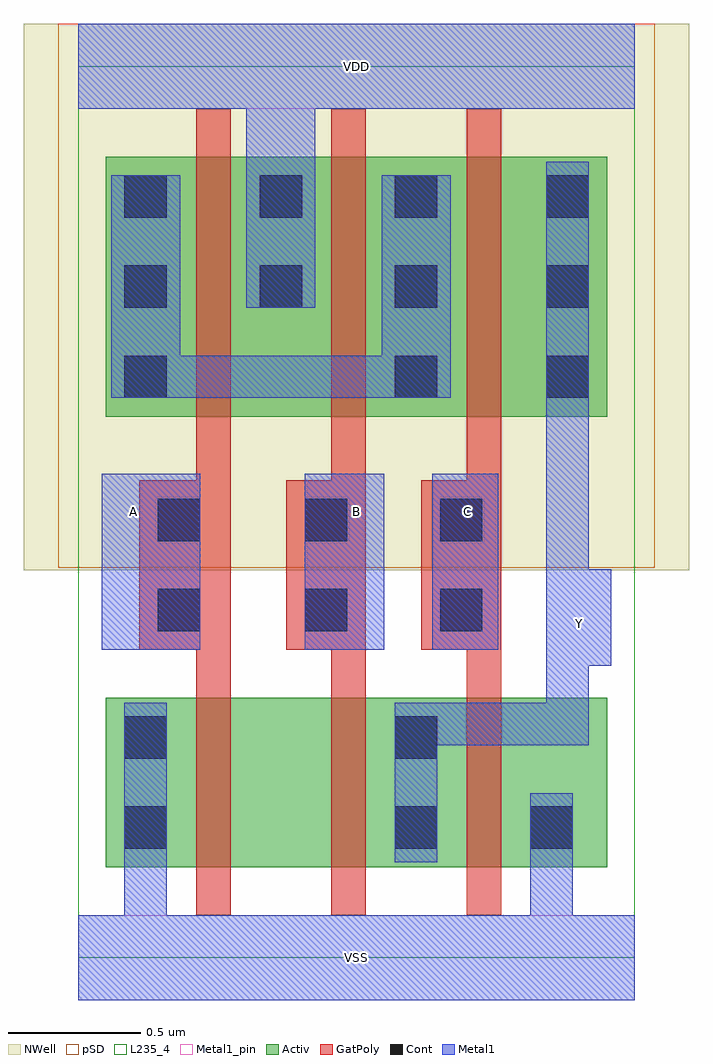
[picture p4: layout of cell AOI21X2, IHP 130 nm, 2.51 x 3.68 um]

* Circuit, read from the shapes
.subckt AOI21X2 A B C VDD VSS Y
XM1 n1 A VSS VSUBS sg13_lv_nmos w=0.64u l=0.13u
XM2 Y B n1 VSUBS sg13_lv_nmos w=0.64u l=0.13u
XM3 VSS C Y VSUBS sg13_lv_nmos w=0.64u l=0.13u
XM4 VDD A n2 n3 sg13_lv_pmos w=0.98u l=0.13u
XM5 n2 B VDD n3 sg13_lv_pmos w=0.98u l=0.13u
XM6 Y C n2 n3 sg13_lv_pmos w=0.98u l=0.13u
.ends

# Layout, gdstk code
import gdstk
lib = gdstk.Library(unit=1e-6, precision=1e-09)
def R(c, l, rs):  # rectangles x0, y0, x1, y1
    for r in rs: c.add(gdstk.rectangle(r[:2], r[2:], *l))
def A(c, l, x, y, w, h, nx, ny, dx, dy):  # array of equal rectangles
    R(c, l, [(x+i*dx, y+j*dy, x+i*dx+w, y+j*dy+h) for i in range(nx) for j in range(ny)])
def P(c, l, *ps):  # polygons
    for p in ps: c.add(gdstk.Polygon(p, *l))
Activ = (1, 0)
GatPoly = (5, 0)
Cont = (6, 0)
Metal1 = (8, 0)
Metal1_pin = (8, 2)
pSD = (14, 0)
NWell = (31, 0)
L235_4 = (235, 4)

aoi21x2 = lib.new_cell('AOI21X2')
R(aoi21x2, Activ, [(0.105,0.34,1.995,0.98), (0.105,2.04,1.995,3.02)])
P(aoi21x2, GatPoly, [(1.465,0.16),(1.465,1.16),(1.295,1.16),(1.295,1.8),(1.465,1.8),(1.465,3.2),(1.595,3.2),(1.595,0.16)],
  [(0.955,0.16),(0.955,1.16),(0.785,1.16),(0.785,1.8),(0.955,1.8),(0.955,3.2),(1.085,3.2),(1.085,0.16)],
  [(0.445,0.16),(0.445,1.16),(0.23,1.16),(0.23,1.8),(0.445,1.8),(0.445,3.2),(0.575,3.2),(0.575,0.16)])
A(aoi21x2, Cont, 1.765, 2.11, 0.16, 0.16, 1, 3, 0, 0.34)
A(aoi21x2, Cont, 0.175, 2.45, 0.16, 0.16, 3, 2, 0.51, 0.34)
R(aoi21x2, Cont, [(0.175,0.41,0.335,0.57), (1.195,0.41,1.355,0.57), (1.705,0.41,1.865,0.57), (0.175,0.75,0.335,0.91), (1.195,0.75,1.355,0.91), (0.3,1.23,0.46,1.39), (0.855,1.23,1.015,1.39), (1.365,1.23,1.525,1.39), (0.3,1.57,0.46,1.73), (0.855,1.57,1.015,1.73), (1.365,1.57,1.525,1.73), (0.175,2.11,0.335,2.27), (1.195,2.11,1.355,2.27)])
R(aoi21x2, Metal1, [(0.09,1.16,0.46,1.825), (0.855,1.16,1.155,1.825), (1.335,1.16,1.585,1.825)])
P(aoi21x2, Metal1, [(0,-0.16),(0,0.16),(0.175,0.16),(0.175,0.96),(0.335,0.96),(0.335,0.16),(1.705,0.16),(1.705,0.62),(1.865,0.62),(1.865,0.16),(2.1,0.16),(2.1,-0.16)],
  [(0.635,2.45),(0.635,3.2),(0,3.2),(0,3.52),(2.1,3.52),(2.1,3.2),(0.895,3.2),(0.895,2.45)],
  [(1.195,0.36),(1.195,0.96),(1.765,0.96),(1.765,3),(1.925,3),(1.925,1.465),(2.01,1.465),(2.01,1.1),(1.925,1.1),(1.925,0.8),(1.355,0.8),(1.355,0.36)],
  [(0.125,2.11),(0.125,2.95),(0.385,2.95),(0.385,2.27),(1.145,2.27),(1.145,2.95),(1.405,2.95),(1.405,2.11)])
R(aoi21x2, Metal1_pin, [(0,-0.16,2.1,0.16), (0.09,1.16,0.46,1.825), (0.855,1.16,1.155,1.825), (1.335,1.16,1.585,1.825), (0,3.2,2.1,3.52)])
P(aoi21x2, Metal1_pin, [(1.195,0.36),(1.195,0.96),(1.765,0.96),(1.765,3),(1.925,3),(1.925,1.465),(2.01,1.465),(2.01,1.1),(1.925,1.1),(1.925,0.8),(1.355,0.8),(1.355,0.36)])
R(aoi21x2, pSD, [(-0.075,1.47,2.175,3.52)])
R(aoi21x2, NWell, [(-0.205,1.46,2.305,3.52)])
R(aoi21x2, L235_4, [(0,0,2.1,3.36)])
aoi21x2.add(gdstk.Label('A', (0.21,1.68), layer=8, texttype=25))
aoi21x2.add(gdstk.Label('Y', (1.89,1.26), layer=8, texttype=25))
aoi21x2.add(gdstk.Label('B', (1.05,1.68), layer=8, texttype=25))
aoi21x2.add(gdstk.Label('VSS', (1.05,0), layer=8, texttype=25))
aoi21x2.add(gdstk.Label('C', (1.47,1.68), layer=8, texttype=25))
aoi21x2.add(gdstk.Label('VDD', (1.05,3.36), layer=8, texttype=25))

lib.write_gds('AOI21X2.gds')
